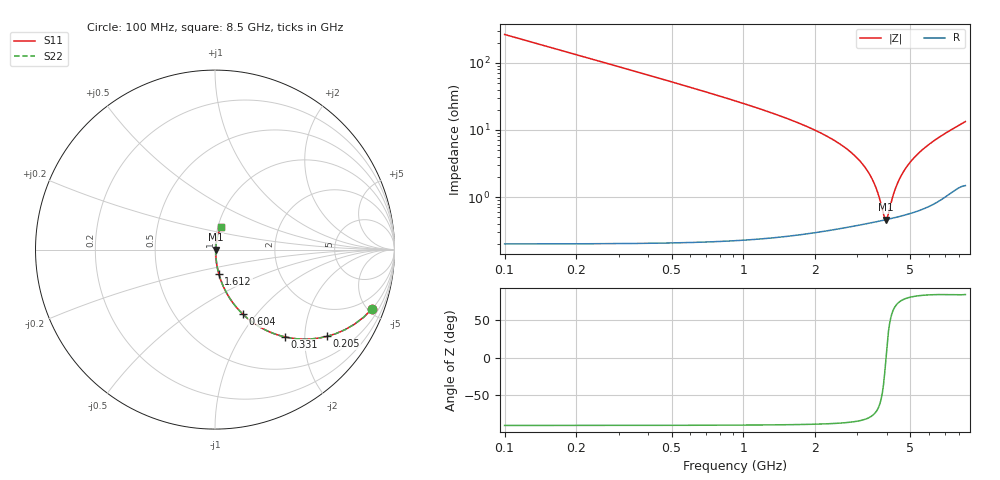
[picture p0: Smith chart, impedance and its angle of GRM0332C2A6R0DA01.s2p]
!Murata Part Number: GRM0332C2A6R0DA01
!These Parameters are Measured in Series Mode Connection
!Data Generated on Mar 30, 2021
!  o--ll--o
!Port1  Port2
!  o------o
!Operation Temp=25[degC], DC Bias Voltage=0[V]
!Freq. Start=100[MHz] Stop=9[GHz] 401[Steps]
# Hz S RI R 50
!Freq.(Hz) S11(Real) S11(Imag) S21(Real) S21(Imag) S12(Real) S12(Imag) S22(Real) S22(Imag)
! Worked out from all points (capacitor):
!   401 points, 100 MHz to 8.5 GHz, reference 50 ohm
!   read as one part in series: C = 6 pF near 142 MHz
!   lowest |Z| = 461 mohm at 3.943 GHz (marker M1)
!   series resonance near 3.953 GHz, so ESL is about 270 pH
!   S11 on the Smith chart (normalised r, x): 100 MHz: 1.00, -5.30; 205 MHz: 1.00, -2.58; 331 MHz: 1.00, -1.59; 604 MHz: 1.00, -0.86; 1.612 GHz: 1.01, -0.27; 8.5 GHz: 1.03, +0.27
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1e8  0.8752 -0.3301  0.1248 0.3301  0.1248 0.3301  0.8752 -0.3301
2.05e8  0.6246 -0.4834  0.3754 0.4834  0.3754 0.4834  0.6246 -0.4834
3.31e8  0.388 -0.486  0.612 0.486  0.612 0.486  0.388 -0.486
4.57e8  0.2477 -0.4299  0.7523 0.4299  0.7523 0.4299  0.2477 -0.4299
6.04e8  0.1566 -0.361  0.8434 0.361  0.8434 0.361  0.1566 -0.361
9.4e8  0.068 -0.2475  0.932 0.2475  0.932 0.2475  0.068 -0.2475
1.507e9  0.0245 -0.1464  0.9755 0.1464  0.9755 0.1464  0.0245 -0.1464
1.612e9  0.021 -0.134  0.979 0.134  0.979 0.134  0.021 -0.134
2.914e9  0.0054 -0.0414  0.9946 0.0414  0.9946 0.0414  0.0054 -0.0414
3.229e9  0.0047 -0.0273  0.9953 0.0273  0.9953 0.0273  0.0047 -0.0273
3.481e9  0.00446 -0.0171  0.9955 0.0171  0.9955 0.0171  0.00446 -0.0171
3.67e9  0.00443 -0.01  0.9956 0.01  0.9956 0.01  0.00443 -0.01
3.88e9  0.00452 -0.00252  0.9955 0.00252  0.9955 0.00252  0.00452 -0.00252
3.943e9  0.00457 -0.000349  0.9954 0.000349  0.9954 0.000349  0.00457 -0.000349
4.027e9  0.00466 0.0025  0.9953 -0.0025  0.9953 -0.0025  0.00466 0.0025
4.3e9  0.00504 0.0114  0.995 -0.0114  0.995 -0.0114  0.00504 0.0114
4.531e9  0.00549 0.0186  0.9945 -0.0186  0.9945 -0.0186  0.00549 0.0186
4.825e9  0.00621 0.0274  0.9938 -0.0274  0.9938 -0.0274  0.00621 0.0274
5.224e9  0.00746 0.0388  0.9925 -0.0388  0.9925 -0.0388  0.00746 0.0388
5.707e9  0.00941 0.0521  0.9906 -0.0521  0.9906 -0.0521  0.00941 0.0521
7.114e9  0.0184 0.0891  0.9816 -0.0891  0.9816 -0.0891  0.0184 0.0891
8.5e9  0.0312 0.1267  0.9688 -0.1267  0.9688 -0.1267  0.0312 0.1267
